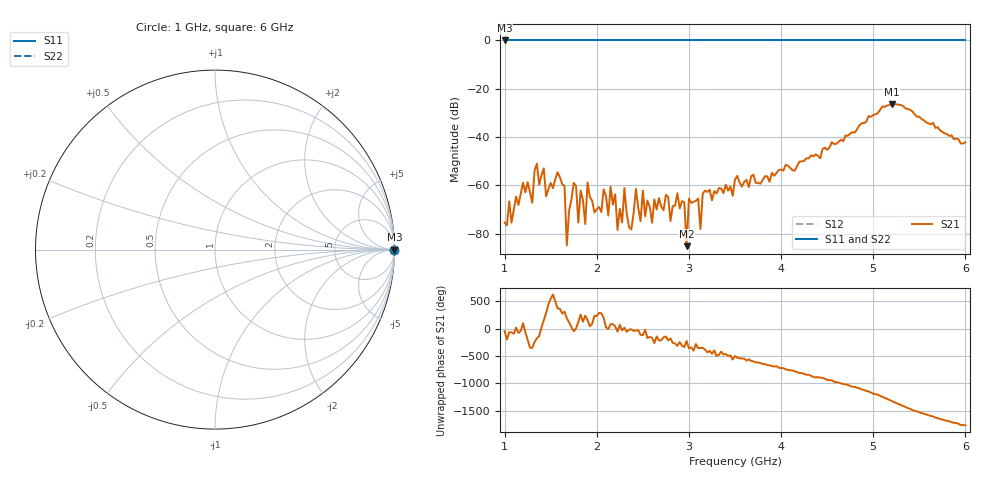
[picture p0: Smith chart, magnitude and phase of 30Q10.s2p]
!Keysight Technologies N9926A: A.08.19
!Date: Sunday, 01 March 2026 14:03:35
!Timezone: (GMT-06:00) Central Time (US & Canada)
!Model: N9926A
!Serial: MY53102721
!GPS Latitude:
!GPS Longitude:
!GPS TimeStamp: 0001-01-01 00:00:00Z
!GPS Seconds Since Last Read: 0
!CHECKSUM:1825003702
!Correction: S11()S21(ON U)S12()S22()
!S2P File: Measurements:S11,S21,S12,S22:
# Hz S DB R 50
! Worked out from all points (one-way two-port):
!   201 points, 1 GHz to 6 GHz, reference 50 ohm
!   highest |S21| = -26.36 dB at 5.2 GHz (marker M1); lowest = -85.2 dB at 2.975 GHz (marker M2)
!   lowest |S11| = 0.0 dB at 1 GHz (marker M3)
!   |S11| at or under -10 dB: nowhere
!   |S22| runs from 0.0 to 0.0 dB; largest |S21 - S12| = 1
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1e9  0.00 0.0  -75.43 -47.8  0.00 0.0  0.00 0.0
1.35e9  0.00 0.0  -51.00 -178.5  0.00 0.0  0.00 0.0
1.65e9  0.00 0.0  -60.20 -51.4  0.00 0.0  0.00 0.0
1.675e9  0.00 0.0  -84.87 -171.5  0.00 0.0  0.00 0.0
1.75e9  0.00 0.0  -58.99 -47.9  0.00 0.0  0.00 0.0
1.8e9  0.00 0.0  -75.43 120.8  0.00 0.0  0.00 0.0
1.85e9  0.00 0.0  -66.19 124.3  0.00 0.0  0.00 0.0
2.15e9  0.00 0.0  -60.58 78.9  0.00 0.0  0.00 0.0
2.225e9  0.00 0.0  -78.50 -57.5  0.00 0.0  0.00 0.0
2.3e9  0.00 0.0  -61.13 15.6  0.00 0.0  0.00 0.0
2.375e9  0.00 0.0  -78.31 -12.2  0.00 0.0  0.00 0.0
2.425e9  0.00 0.0  -61.53 -35.0  0.00 0.0  0.00 0.0
2.675e9  0.00 0.0  -65.26 143.9  0.00 0.0  0.00 0.0
2.975e9  0.00 0.0  -85.22 132.2  0.00 0.0  0.00 0.0
3e9  0.00 0.0  -65.51 -2.4  0.00 0.0  0.00 0.0
3.125e9  0.00 0.0  -78.11 5.4  0.00 0.0  0.00 0.0
3.15e9  0.00 0.0  -63.49 6.8  0.00 0.0  0.00 0.0
3.5e9  0.00 0.0  -57.65 -143.1  0.00 0.0  0.00 0.0
4.35e9  0.00 0.0  -48.00 -163.3  0.00 0.0  0.00 0.0
5.175e9  0.00 0.0  -26.75 134.6  0.00 0.0  0.00 0.0
5.2e9  0.00 0.0  -26.36 117.1  0.00 0.0  0.00 0.0
6e9  0.00 0.0  -42.20 29.2  0.00 0.0  0.00 0.0
